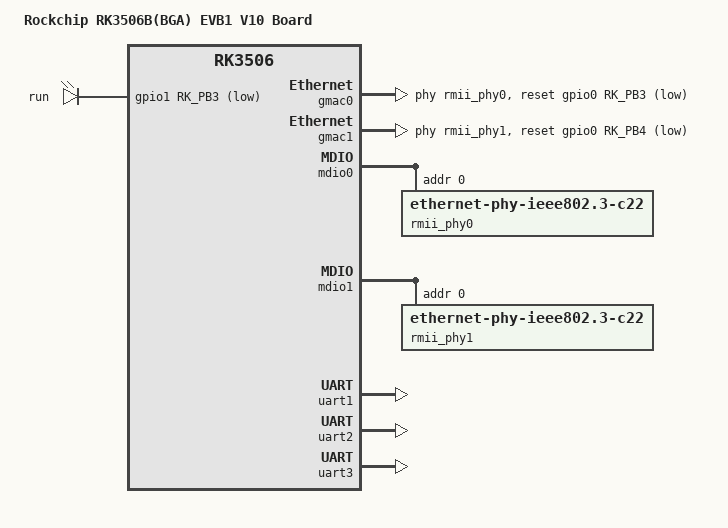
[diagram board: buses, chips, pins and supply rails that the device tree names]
// SPDX-License-Identifier: (GPL-2.0+ OR MIT)
/*
 * Copyright (c) 2024 Rockchip Electronics Co., Ltd.
 */

/dts-v1/;

#include "rk3506-my-base-nand.dtsi"

/ {
	model = "Rockchip RK3506B(BGA) EVB1 V10 Board";
	compatible = "rockchip,rk3506b-evb1-v10", "rockchip,rk3506";

	leds {
		compatible = "gpio-leds";
		status = "okay";

		heart_led {
			label = "run";
			gpios = <&gpio1 RK_PB3 GPIO_ACTIVE_LOW>;
			linux,default-trigger = "heartbeat";
			default-state = "off";
		};
	};
};

&gmac0 {
	clock_in_out = "input";

	snps,reset-gpio = <&gpio0 RK_PB3 GPIO_ACTIVE_LOW>;
	snps,reset-active-low;
	snps,reset-delays-us = <0 20000 100000>;

	pinctrl-names = "default";
	pinctrl-0 = <&eth_rmii0_miim_pins
				&eth_rmii0_tx_bus2_pins
				&eth_rmii0_rx_bus2_pins
				&eth_rmii0_clk_pins>;

	phy-handle = <&rmii_phy0>;
	status = "okay";
};

&gmac1 {
	clock_in_out = "input";

	snps,reset-gpio = <&gpio0 RK_PB4 GPIO_ACTIVE_LOW>;
	snps,reset-active-low;
	snps,reset-delays-us = <0 20000 100000>;

	pinctrl-names = "default";
	pinctrl-0 = <&eth_rmii1_miim_pins
				&eth_rmii1_tx_bus2_pins
				&eth_rmii1_rx_bus2_pins
				&eth_rmii1_clk_pins>;

	phy-handle = <&rmii_phy1>;
	status = "okay";
};

&mdio0 {
	rmii_phy0: phy@0 {
		compatible = "ethernet-phy-ieee802.3-c22";
		reg = <0x0>;
		clocks = <&cru CLK_MAC_OUT>;
		assigned-clocks = <&cru CLK_MAC_OUT>;
		assigned-clock-rates = <25000000>;
	};
};

&mdio1 {
	rmii_phy1: phy@0 {
		compatible = "ethernet-phy-ieee802.3-c22";
		reg = <0x0>;
		clocks = <&cru CLK_MAC_OUT>;
		assigned-clocks = <&cru CLK_MAC_OUT>;
		assigned-clock-rates = <25000000>;
	};
};

&uart1 {
	pinctrl-names = "default";
	pinctrl-0 = <&rm_io16_uart1_rx &rm_io17_uart1_tx>;
	dma-names = "tx", "rx";
	status = "okay";
};

&uart2 {
	pinctrl-names = "default";
	pinctrl-0 = <&rm_io0_uart2_rx &rm_io2_uart2_tx>;
	dma-names = "tx", "rx";
	status = "okay";
};

&uart3 {
	pinctrl-names = "default";
	pinctrl-0 = <&rm_io15_uart3_rx &rm_io14_uart3_tx>;
	dma-names = "tx", "rx";
	status = "okay";
};
